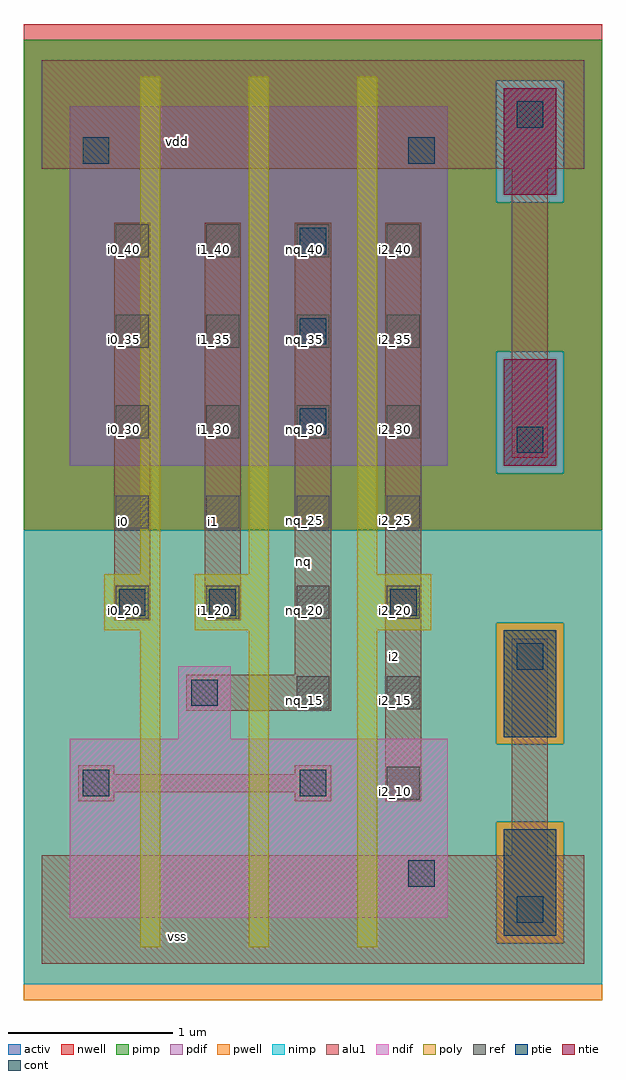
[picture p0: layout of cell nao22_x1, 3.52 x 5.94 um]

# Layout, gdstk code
import gdstk
lib = gdstk.Library(unit=1e-6, precision=2.5e-09)
def R(c, l, rs):  # rectangles x0, y0, x1, y1
    for r in rs: c.add(gdstk.rectangle(r[:2], r[2:], *l))
def A(c, l, x, y, w, h, nx, ny, dx, dy):  # array of equal rectangles
    R(c, l, [(x+i*dx, y+j*dy, x+i*dx+w, y+j*dy+h) for i in range(nx) for j in range(ny)])
ndif = (3, 0)
pdif = (4, 0)
ntie = (5, 0)
ptie = (6, 0)
ref = (24, 0)
cont = (25, 0)
pwell = (41, 0)
nwell = (42, 0)
activ = (43, 0)
pimp = (44, 0)
nimp = (45, 0)
poly = (46, 0)
alu1 = (49, 0)

nao22_x1 = lib.new_cell('nao22_x1')
R(nao22_x1, ndif, [(0.17,0.28,2.47,1.37), (0.17,0.28,2.47,1.37), (0.83,1.37,1.15,1.81), (0.83,1.37,1.15,1.81)])
R(nao22_x1, pdif, [(0.17,3.03,2.47,5.22), (0.17,3.03,2.47,5.22)])
R(nao22_x1, ntie, [(2.81,3.03,3.13,3.68), (2.81,3.03,3.13,3.68), (2.81,4.68,3.13,5.33), (2.81,4.68,3.13,5.33)])
R(nao22_x1, ptie, [(2.81,0.17,3.13,0.82), (2.81,0.17,3.13,0.82), (2.81,1.38,3.13,2.03), (2.81,1.38,3.13,2.03)])
A(nao22_x1, ref, 0.45, 2.1, 0.2, 0.2, 4, 5, 0.55, 0.55)
R(nao22_x1, ref, [(2.1,1,2.3,1.2), (1.55,1.55,1.75,1.75), (2.1,1.55,2.3,1.75)])
A(nao22_x1, cont, 1.57, 3.22, 0.16, 0.16, 1, 3, 0, 0.55)
R(nao22_x1, cont, [(2.89,0.25,3.05,0.41), (2.23,0.47,2.39,0.63), (0.25,1.02,0.41,1.18), (1.57,1.02,1.73,1.18), (0.91,1.57,1.07,1.73), (2.89,1.79,3.05,1.95), (0.47,2.12,0.63,2.28), (1.02,2.12,1.18,2.28), (2.12,2.12,2.28,2.28), (2.89,3.11,3.05,3.27), (0.25,4.87,0.41,5.03), (2.23,4.87,2.39,5.03), (2.89,5.09,3.05,5.25)])
R(nao22_x1, pwell, [(-0.11,-0.22,3.41,2.64)])
R(nao22_x1, nwell, [(-0.11,2.64,3.41,5.72)])
R(nao22_x1, activ, [(2.81,0.17,3.13,0.82), (2.81,0.17,3.13,0.82), (0.17,0.28,2.47,1.37), (0.17,0.28,2.47,1.37), (0.83,1.37,1.15,1.81), (0.83,1.37,1.15,1.81), (2.81,1.38,3.13,2.03), (2.81,1.38,3.13,2.03), (0.17,3.03,2.47,5.22), (0.17,3.03,2.47,5.22), (2.81,3.03,3.13,3.68), (2.81,3.03,3.13,3.68), (2.81,4.68,3.13,5.33), (2.81,4.68,3.13,5.33)])
R(nao22_x1, pimp, [(2.765,0.125,3.175,0.865), (2.765,1.335,3.175,2.075), (-0.11,2.64,3.41,2.985), (-0.11,2.985,2.765,3.725), (3.175,2.985,3.41,3.725), (-0.11,3.725,3.41,4.635), (-0.11,4.635,2.765,5.375), (3.175,4.635,3.41,5.375), (-0.11,5.375,3.41,5.625)])
R(nao22_x1, nimp, [(-0.11,-0.125,3.41,0.125), (-0.11,0.125,2.765,0.865), (3.175,0.125,3.41,0.865), (-0.11,0.865,3.41,1.335), (-0.11,1.335,2.765,2.075), (3.175,1.335,3.41,2.075), (-0.11,2.075,3.41,2.64), (2.765,2.985,3.175,3.725), (2.765,4.635,3.175,5.375)])
A(nao22_x1, poly, 0.6, 0.1, 0.12, 1.93, 3, 1, 0.66, 0)
A(nao22_x1, poly, 0.6, 2.37, 0.12, 3.03, 3, 1, 0.66, 0)
R(nao22_x1, poly, [(0.38,2.03,0.72,2.37), (0.93,2.03,1.38,2.37), (1.92,2.03,2.37,2.37)])
R(nao22_x1, alu1, [(0,0,3.3,0.66), (2.86,0.66,3.08,1.98), (0.22,0.99,0.44,1.045), (1.54,0.99,1.76,1.045), (2.09,0.99,2.31,4.51), (0.22,1.045,1.76,1.155), (0.22,1.155,0.44,1.21), (1.54,1.155,1.76,1.21), (0.88,1.54,1.76,1.76), (1.54,1.76,1.76,4.51), (0.44,2.09,0.66,4.51), (0.99,2.09,1.21,4.51), (2.86,3.08,3.08,4.84), (0,4.84,3.3,5.5)])
nao22_x1.add(gdstk.Label('vss', (0.825,0.165), layer=49, texttype=0))
nao22_x1.add(gdstk.Label('i2', (2.145,1.87), layer=49, texttype=0))
nao22_x1.add(gdstk.Label('nq', (1.595,2.4475), layer=49, texttype=0))
nao22_x1.add(gdstk.Label('i1', (1.045,2.695), layer=49, texttype=0))
nao22_x1.add(gdstk.Label('i0', (0.495,2.695), layer=49, texttype=0))
nao22_x1.add(gdstk.Label('vdd', (0.825,5.005), layer=49, texttype=0))
nao22_x1.add(gdstk.Label('i2_10', (2.15,1.05), layer=24, texttype=0))
nao22_x1.add(gdstk.Label('i2_40', (2.15,4.35), layer=24, texttype=0))
nao22_x1.add(gdstk.Label('nq_40', (1.6,4.35), layer=24, texttype=0))
nao22_x1.add(gdstk.Label('i1_40', (1.05,4.35), layer=24, texttype=0))
nao22_x1.add(gdstk.Label('i1_35', (1.05,3.8), layer=24, texttype=0))
nao22_x1.add(gdstk.Label('i0_35', (0.5,3.8), layer=24, texttype=0))
nao22_x1.add(gdstk.Label('i0_40', (0.5,4.35), layer=24, texttype=0))
nao22_x1.add(gdstk.Label('i0_20', (0.5,2.15), layer=24, texttype=0))
nao22_x1.add(gdstk.Label('i0_25', (0.5,2.7), layer=24, texttype=0))
nao22_x1.add(gdstk.Label('i0_30', (0.5,3.25), layer=24, texttype=0))
nao22_x1.add(gdstk.Label('i1_30', (1.05,3.25), layer=24, texttype=0))
nao22_x1.add(gdstk.Label('i1_25', (1.05,2.7), layer=24, texttype=0))
nao22_x1.add(gdstk.Label('i1_20', (1.05,2.15), layer=24, texttype=0))
nao22_x1.add(gdstk.Label('i2_15', (2.15,1.6), layer=24, texttype=0))
nao22_x1.add(gdstk.Label('i2_20', (2.15,2.15), layer=24, texttype=0))
nao22_x1.add(gdstk.Label('i2_25', (2.15,2.7), layer=24, texttype=0))
nao22_x1.add(gdstk.Label('i2_30', (2.15,3.25), layer=24, texttype=0))
nao22_x1.add(gdstk.Label('i2_35', (2.15,3.8), layer=24, texttype=0))
nao22_x1.add(gdstk.Label('nq_15', (1.6,1.6), layer=24, texttype=0))
nao22_x1.add(gdstk.Label('nq_20', (1.6,2.15), layer=24, texttype=0))
nao22_x1.add(gdstk.Label('nq_25', (1.6,2.7), layer=24, texttype=0))
nao22_x1.add(gdstk.Label('nq_30', (1.6,3.25), layer=24, texttype=0))
nao22_x1.add(gdstk.Label('nq_35', (1.6,3.8), layer=24, texttype=0))

lib.write_gds('nao22_x1.gds')
